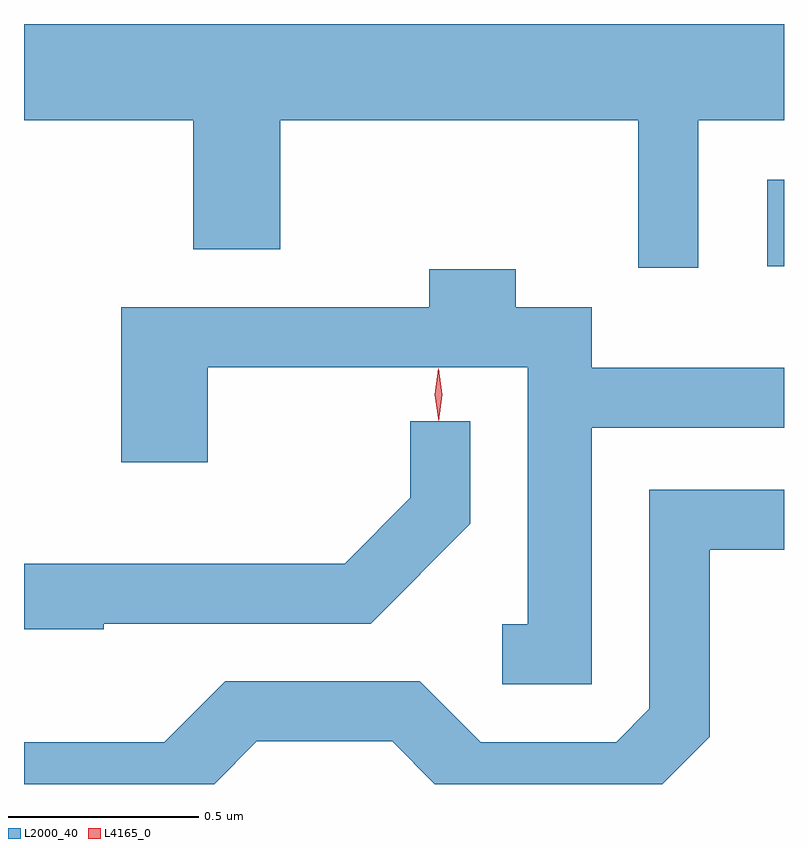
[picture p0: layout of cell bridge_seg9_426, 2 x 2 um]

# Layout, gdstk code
import gdstk
lib = gdstk.Library(unit=1e-6, precision=1e-09)
def R(c, l, rs):  # rectangles x0, y0, x1, y1
    for r in rs: c.add(gdstk.rectangle(r[:2], r[2:], *l))
def P(c, l, *ps):  # polygons
    for p in ps: c.add(gdstk.Polygon(p, *l))
L2000_40 = (2000, 40)
L4165_0 = (4165, 0)

bridge_seg9_426 = lib.new_cell('bridge_seg9_426')
R(bridge_seg9_426, L2000_40, [(506.461,2026.951,506.505,2027.179)])
P(bridge_seg9_426, L2000_40, [(506.279,2027.336),(506.505,2027.336),(506.505,2027.589),(504.505,2027.589),(504.505,2027.336),(504.951,2027.336),(504.951,2026.996),(505.179,2026.996),(505.179,2027.336),(506.121,2027.336),(506.121,2026.948),(506.279,2026.948)],
  [(505.999,2026.526),(506.505,2026.526),(506.505,2026.684),(505.999,2026.684),(505.999,2026.844),(505.799,2026.844),(505.799,2026.944),(505.571,2026.944),(505.571,2026.844),(504.761,2026.844),(504.761,2026.436),(504.989,2026.436),(504.989,2026.686),(505.831,2026.686),(505.831,2026.009),(505.763,2026.009),(505.763,2025.851),(505.999,2025.851)],
  [(504.715,2026.011),(505.417,2026.011),(505.679,2026.274),(505.679,2026.543),(505.521,2026.543),(505.521,2026.342),(505.349,2026.169),(504.505,2026.169),(504.505,2025.996),(504.715,2025.996)],
  [(505.117,2025.701),(505.474,2025.701),(505.586,2025.589),(506.185,2025.589),(506.309,2025.714),(506.309,2026.206),(506.505,2026.206),(506.505,2026.364),(506.151,2026.364),(506.151,2025.787),(506.064,2025.699),(505.707,2025.699),(505.547,2025.859),(505.034,2025.859),(504.874,2025.699),(504.505,2025.699),(504.505,2025.589),(505.005,2025.589)])
P(bridge_seg9_426, L4165_0, [(505.596,2026.543),(505.596,2026.544),(505.586,2026.613),(505.595,2026.682),(505.595,2026.682),(505.596,2026.682),(505.606,2026.613),(505.597,2026.544)])

lib.write_gds('bridge_seg9_426.gds')
